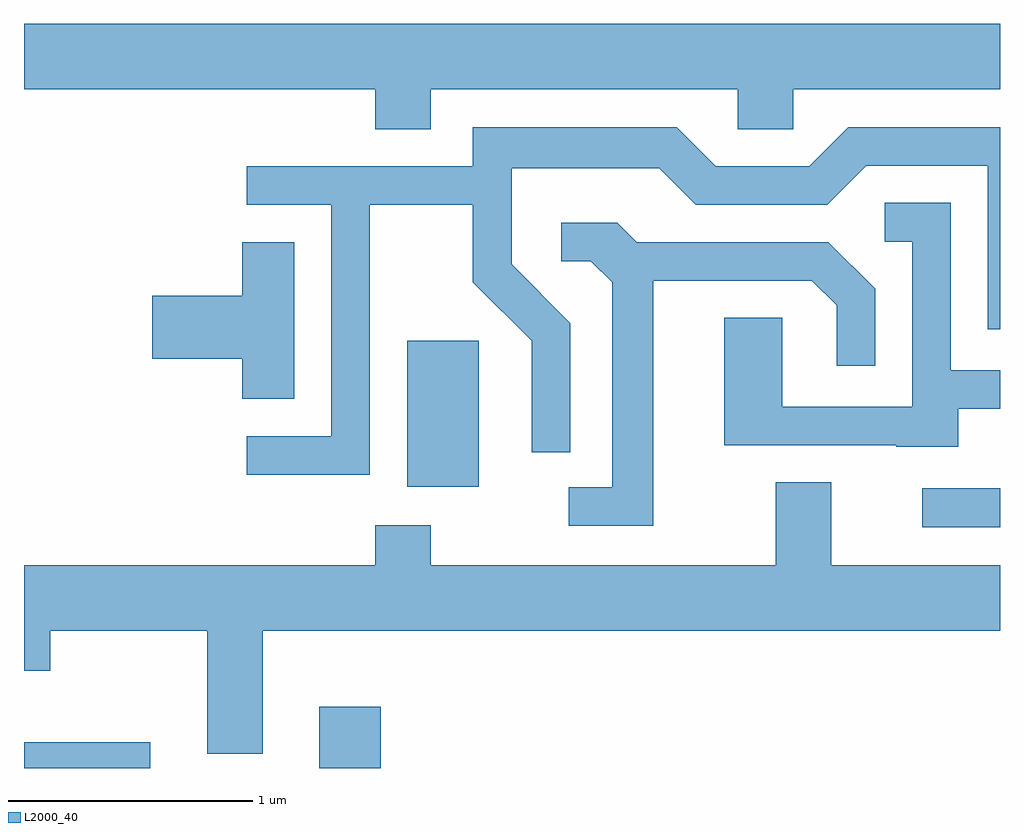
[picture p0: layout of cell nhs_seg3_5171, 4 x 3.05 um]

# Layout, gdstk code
import gdstk
lib = gdstk.Library(unit=1e-6, precision=1e-09)
def R(c, l, rs):  # rectangles x0, y0, x1, y1
    for r in rs: c.add(gdstk.rectangle(r[:2], r[2:], *l))
def P(c, l, *ps):  # polygons
    for p in ps: c.add(gdstk.Polygon(p, *l))
L2000_40 = (2000, 40)

nhs_seg3_5171 = lib.new_cell('nhs_seg3_5171')
R(nhs_seg3_5171, L2000_40, [(337.611,1129.892,338.129,1129.999), (338.821,1129.892,339.074,1130.144), (341.293,1130.881,341.611,1131.039), (339.181,1131.046,339.474,1131.644)])
P(nhs_seg3_5171, L2000_40, [(339.279,1132.676),(340.536,1132.676),(340.536,1132.511),(340.764,1132.511),(340.764,1132.676),(341.611,1132.676),(341.611,1132.944),(337.611,1132.944),(337.611,1132.676),(339.051,1132.676),(339.051,1132.511),(339.279,1132.511)],
  [(339.029,1132.201),(339.451,1132.201),(339.451,1131.884),(339.691,1131.644),(339.691,1131.188),(339.849,1131.188),(339.849,1131.717),(339.609,1131.957),(339.609,1132.351),(340.214,1132.351),(340.364,1132.201),(340.902,1132.201),(341.062,1132.361),(341.561,1132.361),(341.561,1131.691),(341.611,1131.691),(341.611,1132.519),(340.989,1132.519),(340.829,1132.359),(340.447,1132.359),(340.287,1132.519),(339.451,1132.519),(339.451,1132.359),(338.523,1132.359),(338.523,1132.201),(338.871,1132.201),(338.871,1131.254),(338.523,1131.254),(338.523,1131.096),(339.029,1131.096)],
  [(341.439,1131.366),(341.611,1131.366),(341.611,1131.524),(341.409,1131.524),(341.409,1132.209),(341.138,1132.209),(341.138,1132.051),(341.251,1132.051),(341.251,1131.374),(340.719,1131.374),(340.719,1131.739),(340.481,1131.739),(340.481,1131.216),(341.185,1131.216),(341.185,1131.211),(341.439,1131.211)],
  [(340.189,1131.891),(340.839,1131.891),(340.941,1131.789),(340.941,1131.543),(341.099,1131.543),(341.099,1131.857),(340.907,1132.049),(340.122,1132.049),(340.042,1132.129),(339.813,1132.129),(339.813,1131.971),(339.934,1131.971),(340.021,1131.884),(340.021,1131.044),(339.843,1131.044),(339.843,1130.886),(340.189,1130.886)],
  [(338.719,1132.049),(338.506,1132.049),(338.506,1131.829),(338.136,1131.829),(338.136,1131.571),(338.506,1131.571),(338.506,1131.406),(338.719,1131.406)],
  [(338.589,1130.456),(341.611,1130.456),(341.611,1130.724),(340.919,1130.724),(340.919,1131.064),(340.691,1131.064),(340.691,1130.724),(339.279,1130.724),(339.279,1130.889),(339.051,1130.889),(339.051,1130.724),(337.611,1130.724),(337.611,1130.291),(337.719,1130.291),(337.719,1130.456),(338.361,1130.456),(338.361,1129.951),(338.589,1129.951)])

lib.write_gds('nhs_seg3_5171.gds')
